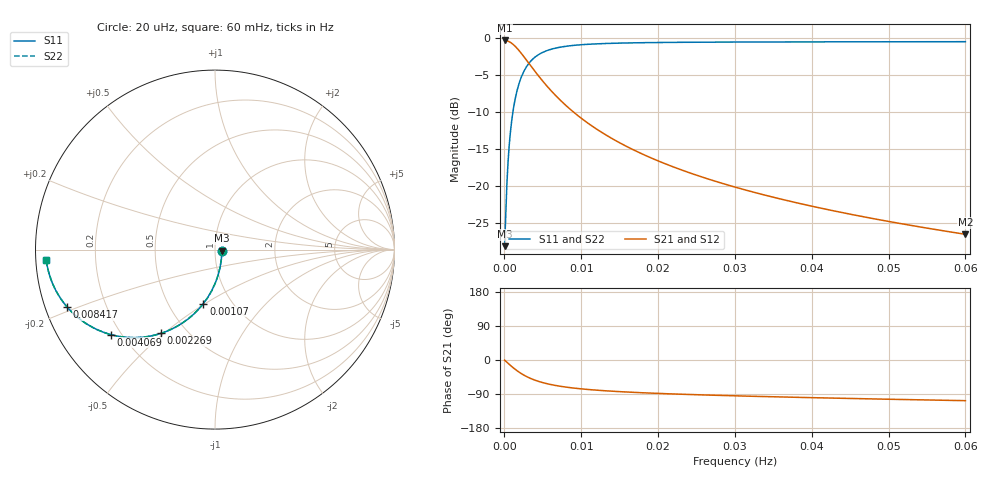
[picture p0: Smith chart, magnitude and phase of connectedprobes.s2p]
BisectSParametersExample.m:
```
%% Bisect S-Parameters of Cascaded Probes
% This example shows a how to separate the S-parameters of two identical,
% passive, symmetric probes connected in a cascade.
%
%
%   Copyright 2015 The MathWorks, Inc.
%% Introduction
% Consider a DUT (device under test) connected to two probes. In order to
% de-embed the S-parameters of DUT, you need to know the S-parameters of
% each individual probe. For accurate S-parameters of the two probes,
% the calibration is done in the lab using SOLT (short,
% open, load, and thru) or TRL (thru, reflect, line) measurements. However,
% if you assume the probes are identical and symmetric, then you can
% approximate S-parameters quickly using the procedure sketched here. 
%
% The file <matlab:edit('connectedprobes.s2p'); |connectedprobes.s2p|>
% contains the S-parameter data when the probes are connected directly to
% each other.
%
%% ABCD-parameters
% This example uses ABCD-parameters to bisect measured S-parameter
% data into the data for each individual probe.
%
% When you cascade two networks, you can calculate the ABCD-parameters of
% the combined network by matrix multiplying the ABCD-parameters of the two
% individual networks.
%
% <<abcdparameters.png>>
%
% $$\left( {\matrix{A & B  \cr    C & D  \cr  } } \right) = \left( {\matrix{ 
% {{A_1}} & {{B_1}}  \cr    {{C_1}} & {{D_1}}  \cr  } } \right)\left( 
% {\matrix{   {{A_2}} & {{B_2}}  \cr    {{C_2}} & {{D_2}}  \cr  } } \right)$$
%
% If, 
% $$\left( {\matrix{   {{A_1}} & {{B_1}}  \cr    {{C_1}} & {{D_1}}  \cr
% } } \right) = {\left( {\matrix{   {{A_2}} & {{B_2}}  \cr    {{C_2}} &
% {{D_2}}  \cr  } } \right)}$, then, 
% $$ \left( {\matrix{   A & B  \cr   
% C & D  \cr  } } \right) = {\left( {\matrix{   {{A_1}} & {{B_1}}  \cr  
% {{C_1}} & {{D_1}}  \cr  } } \right)^2} $$
%
% From the above equation, you can find the ABCD-parameters 
% of the two individual probes by taking the matrix square root 
% of the ABCD-parameters of main network.
%
% Since both probes are identical, you can calculate the S-parameters
% of either one of the probes.
%% Extract Required S-Parameter Data from Given Touchstone file
% Create an <matlab:doc('sparameters'); |sparameters|> object from the 
% Touchstone(R) data file |connectedprobes.s2p|.
filename = 'connectedprobes.s2p';
S = sparameters(filename);
numports = S.NumPorts;
freq = S.Frequencies;
numfreq = numel(freq);
z0 = S.Impedance;

%% Calculate S-Parameter Data of Individual Probe
% Create a zero matrix to store the ABCD-parameter data of the probe.
abcd_probe_data = zeros(numports,numports,numfreq);
%%
% To calculate S-Parameters of the probe, you need to know the S-parameters
% at every frequency it operates. Convert the S-parameters extracted from
% *connectedprobes.s2p* to ABCD-parameters. Then calculate the matrix square
% root of ABCD-parameters using <matlab:doc('sqrtm'); |sqrtm|> function to 
% get the ABCD-parameters of the probe.  Convert these ABCD-parameters of
% the probe to S-parameters.
ABCD = abcdparameters(S);
for n = 1:numfreq
    abcd_meas = ABCD.Parameters(:,:,n);
    abcd_probe_data(:,:,n) = sqrtm(abcd_meas);
end
ABCD_probe = abcdparameters(abcd_probe_data,freq);
%%
% Create an S-parameter object from the calculated S-parameter data 
% of the probe. 
S_probe = sparameters(ABCD_probe,z0);

%% Compare Calculated S-Parameters with Expected S-Parameters
% For this example, *connectedprobes.s2p* gives the S-Parameter data of 
% this network.
% 
% <<mainnet.png>>
% 
% Split the above network into two identical networks, *probe1* and 
% *probe2*. The S-parameters of these probes represent the expected result.
%
% <<subnet.png>>
%
% Create *probe1* using <matlab:doc('circuit'); |circuit|>, 
% <matlab:doc('resistor'); |resistor|> and  <matlab:doc('capacitor');
% |capacitor|> objects from the RF Toolbox.
R1 = 1;
C1 = 1;
R2 = 1;
ckt = circuit('probe1');
add(ckt,[1 2],resistor(R1))
add(ckt,[2 4],capacitor(C1))
add(ckt,[2 3],resistor(R2))
%%
% Calculate the expected S-parameters of probe 1.
setports(ckt,[1 4],[3 4])
S_exp = sparameters(ckt,freq,z0);
%%
% Plot and compare the expected S-parameters from *probe1* and those
% calculated using ABCD-parameters and compare.
rfplot(S_exp)
hold on
rfplot(S_probe,'--')
hold off
text(0.02,-5,{'Solid: Expected','Dashed: Computed'})
%% Compare Cascaded S-Parameters of *probe1* with S-Parameters of Combined Network 
% Cascade s-parameters of *probe1* with itself using 
% <matlab:doc('cascadesparams'); |cascadesparams|> function.
%%
% Create an S-parameter object with cascaded S-parameters.
S_combined = cascadesparams(S_probe,S_probe);
%% 
% Plot and compare S-parameters from *connectedprobes.s2p* and those calculated
% from combined probe1.
figure
rfplot(S)
hold on
rfplot(S_combined,'--')
hold off
text(0.02,-5,{'Solid: Expected','Dashed: Computed'})
%% Limitations
% The procedure shown here cannot replace traditional calibration.  We
% include it as an example of using RF Toolbox(TM) and MATLAB(TM) to
% manipulate network parameters mathematically.
%
% There are some limitations to using this procedure. 
%
% * There is no guaranteed solution.  Some matrices do not have a square 
%   root.
% * The solution may not be unique.  Often, there are two or more viable
%   matrix square roots.
% 
% 
displayEndOfDemoMessage(mfilename)
```
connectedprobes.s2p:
# GHz S MA R 50
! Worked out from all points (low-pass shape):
!   401 points, 20 uHz to 60 mHz, reference 50 ohm
!   highest |S21| = -0.34 dB at 20 uHz (marker M1); lowest = -26.6 dB at 60 mHz (marker M2)
!   |S21| within 3 dB of the highest: start of sweep to 3.112 mHz
!   lowest |S11| = -28.2 dB at 20 uHz (marker M3), VSWR 1.08, Z = 54 - j0.68 ohm
!   |S11| at or under -10 dB: start of sweep to 1.106 mHz
!   |S22| runs from -28.2 to -0.5 dB; largest |S21 - S12| = 0
!   S11 on the Smith chart (normalised r, x): 20 uHz: 1.08, -0.01; 1.07 mHz: 0.74, -0.49; 2.269 mHz: 0.36, -0.49; 4.069 mHz: 0.16, -0.35; 8.417 mHz: 0.06, -0.19; 60 mHz: 0.03, -0.03
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2e-14  0.03893 -9.3  0.9615 -0.4  0.9615 -0.4  0.03893 -9.3
6.198e-13  0.1874 -89.6  0.9431 -11.5  0.9431 -11.5  0.1874 -89.6
1.06965e-12  0.3077 -102.1  0.9096 -19.3  0.9096 -19.3  0.3077 -102.1
1.66945e-12  0.4458 -113.8  0.8478 -28.7  0.8478 -28.7  0.4458 -113.8
2.26925e-12  0.5551 -122.8  0.7776 -36.8  0.7776 -36.8  0.5551 -122.8
4.06865e-12  0.7481 -140.7  0.585 -53.9  0.585 -53.9  0.7481 -140.7
5.86805e-12  0.8322 -150.7  0.4512 -64.1  0.4512 -64.1  0.8322 -150.7
8.4172e-12  0.8837 -158.7  0.3338 -72.6  0.3338 -72.6  0.8837 -158.7
1.726425e-11  0.9275 -169.2  0.1701 -85.8  0.1701 -85.8  0.9275 -169.2
3.001e-11  0.9379 -173.6  0.09779 -94.5  0.09779 -94.5  0.9379 -173.6
6e-11  0.9433 -176.5  0.04684 -107.3  0.04684 -107.3  0.9433 -176.5
